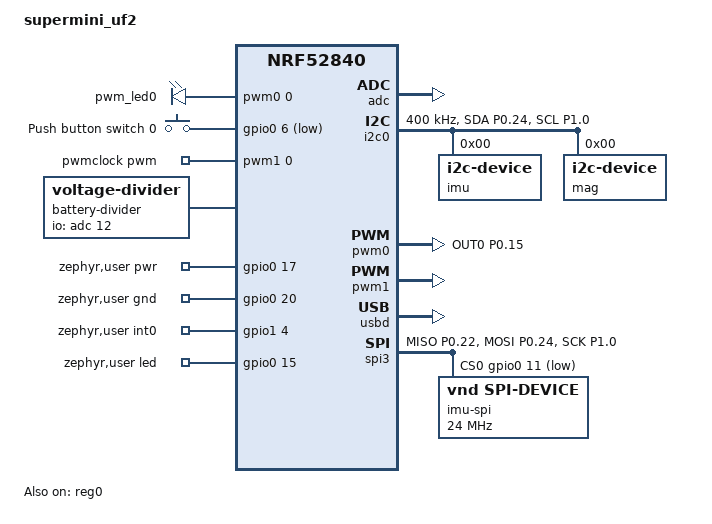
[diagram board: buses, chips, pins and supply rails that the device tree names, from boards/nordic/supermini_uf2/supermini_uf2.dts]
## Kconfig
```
#
# Copyright (c) 2023 Nordic Semiconductor
#
# SPDX-License-Identifier: LicenseRef-Nordic-5-Clause
#

config USE_SLIMENRF_CONSOLE
    bool "Use basic console"
    default y
    help
        Use basic console for commands.

config BATTERY_CHARGER_HAS_NTC
    bool "Battery thermistor"
    help
      Flag for battery NTC thermistor availability.

choice
	prompt "Battery voltage mapping"
    default BATTERY_USE_REG_LDO_MAPPING

config BATTERY_USE_REG_BUCK_MAPPING
    bool "Use buck regulator mapping (3.7V battery, DCDC)"
    help
      Use a constant power mapping for battery voltage.
      Preffered for systems with a buck regulator.
      Measured at a system voltage of 3.0V.

config BATTERY_USE_REG_LDO_MAPPING
    bool "Use LDO linear regulator mapping (3.7V battery, LDO)"
    help
      Use a constant current mapping for battery voltage.
      Preferred for systems with a linear regulator.

config BATTERY_NO_MAPPING
    bool "Disable battery voltage mapping"
    help
      Always map to 100% battery. Disables battery monitoring.

endchoice

config BATTERY_LOW_RUNTIME_THRESHOLD
    int "Low battery runtime threshold (ms)"
    default 10800000
    help
      Trigger low battery when estimated runtime falls below threshold.
      If estimated runtime is not available, low battery will trigger under 10% estimated state of charge.

choice
    prompt "Status LED color mapping"
    default LED_TRI_COLOR

config LED_RGB_COLOR
    bool "Use RGB color mapping"
    help
        Use RGB or RG color mapping for LED status if available.

config LED_TRI_COLOR
    bool "Use default color mapping"
    help
        Use the default color mapping for LED status.

endchoice

menu "Status LED default status color"
    depends on LED_RGB_COLOR

config LED_DEFAULT_COLOR_R
    int "Red value"
    range 0 10000
    default 4000
    depends on LED_RGB_COLOR
    help
        Red color for default status.
        Valid range is 0 to 10000.

config LED_DEFAULT_COLOR_G
    int "Green value"
    range 0 10000
    default 6000
    depends on LED_RGB_COLOR
    help
        Green color for default status.
        Valid range is 0 to 10000.

config LED_DEFAULT_COLOR_B
    int "Blue value"
    range 0 10000
    default 0
    depends on LED_RGB_COLOR
    help
        Blue color for default status.
        Valid range is 0 to 10000.

endmenu

config USER_EXTRA_ACTIONS
    bool "Multiple press actions"
    default y
    help
        Allow user to use multiple presses to calibrate, pair, or enter DFU.
        By default, pairing is available when holding down sw0 for 5 seconds.
        By default, DFU is available when holding down sw0 and plugging in a USB cable.

config IGNORE_RESET
    bool "Ignore reset"
    default y
    help
        If sw0 is available, don't perform any extra actions on reset.

config USER_SHUTDOWN
    bool "User shutdown support"
    default y
    help
        Allow user to use reset or sw0 to shutdown.

config USE_IMU_WAKE_UP
    bool "IMU wake up support"
    default n
    help
        Use IMU wake up state if IMU wake up is present.

config DELAY_SLEEP_ON_STATUS
    bool "Delay IMU wake up mode on status flags"
    default y
    depends on USE_IMU_WAKE_UP
    help
        Delay IMU wake up state if there is an active status flag or in pairing mode.

config WOM_USE_DCDC
    bool "Use DCDC in IMU wake up mode"
    depends on USE_IMU_WAKE_UP
    help
        Use DCDC instead of LDO in IMU wake up state if it is more efficient.

config CONNECTION_TIMEOUT_DELAY
    int "Connection timeout delay (ms)"
    default 300000
    depends on USER_SHUTDOWN
    help
        Connection timeout duration when receiver is not detected.

menu "Sensor power saving"

config SENSOR_LP_TIMEOUT
    int "Sensor low power delay (ms)"
    default 500
    help
        Low power timeout during no motion.

config SENSOR_USE_LOW_POWER_2
    bool "Use additional low power modes"
    help
        Use a higher latency sensor mode during no motion.

config USE_IMU_TIMEOUT
    bool "Use IMU wake up state"
    default y
    depends on USE_IMU_WAKE_UP
    help
        Use IMU wake up state during no motion.

config IMU_TIMEOUT_RAMP_MIN
    int "Sensor timeout minimum delay (ms)"
    default 5000
    depends on USE_IMU_TIMEOUT || SENSOR_USE_LOW_POWER_2
    help
        Minimum timeout during no motion. Initial period on wake up.

config IMU_TIMEOUT_RAMP_MAX
    int "Sensor timeout maximum delay (ms)"
    default 15000
    depends on USE_IMU_TIMEOUT || SENSOR_USE_LOW_POWER_2
    help
        Maximum timeout during no motion.

config USE_ACTIVE_TIMEOUT
    bool "Use activity timeout"
    default y
    depends on USE_IMU_WAKE_UP || USER_SHUTDOWN
    help
        Delay IMU wake up state or user shutdown during activity.

choice
    prompt "Activity timeout mode"
    default SLEEP_ON_ACTIVE_TIMEOUT
    depends on USE_ACTIVE_TIMEOUT

config SLEEP_ON_ACTIVE_TIMEOUT
    bool "IMU wake up"
    depends on USE_IMU_WAKE_UP
    help
        Use IMU wake up state when activity timeout elapses.

config SHUTDOWN_ON_ACTIVE_TIMEOUT
    bool "User shutdown"
    depends on USER_SHUTDOWN
    help
        Use user shutdown when activity timeout elapses.

endchoice

config ACTIVE_TIMEOUT_THRESHOLD
    int "Activity timeout threshold (ms)"
    default 15000
    depends on USE_ACTIVE_TIMEOUT
    help
        Trigger activity timeout after a certain threshold of activity.

config ACTIVE_TIMEOUT_DELAY
    int "Activity timeout delay (ms)"
    default 900000
    depends on USE_ACTIVE_TIMEOUT
    help
        Activity timeout duration when triggered.

endmenu

config SENSOR_ACCEL_ODR
    int "Accelerometer output data rate (Hz)"
    default 100
    help
        Requested accelerometer output data rate. Actual rate will be raised to the nearest supported rate.
        A higher rate will increase the time to read and process sensor data.

config SENSOR_GYRO_ODR
    int "Gyrometer output data rate (Hz)"
    default 200
    help
        Requested gyrometer output data rate. Actual rate will be raised to the nearest supported rate.
        A higher rate will increase the time to read and process sensor data.
        A lower rate is recommended for IMUs with poor gyrometer rate noise density. (e.g. BMI270, LSM6DS3TR-C)

config SENSOR_ACCEL_FS
    int "Accelerometer full scale (g)"
    default 4
    help
        Requested accelerometer full scale. Actual scale will be raised to the nearest supported scale.
        A lower scale may improve noise performance, but is more likely to saturate.

config SENSOR_GYRO_FS
    int "Gyrometer full scale (dps)"
    default 1000
    help
        Requested gyrometer full scale. Actual scale will be raised to the nearest supported scale.
        A lower scale may improve noise performance, but is more likely to saturate.

config SENSOR_USE_MAG
    bool "Magnetometer support"
    default n
    help
        Use magnetometer if it is present.

config USE_SENSOR_CLOCK
    bool "Use external IMU clock"
    default y
    help
        Use external IMU clock if it is present.

choice
    prompt "Sensor fusion"
    default SENSOR_USE_VQF
    help
        Select the sensor fusion method.

config SENSOR_USE_XIOFUSION
    bool "Use x-io Technologies Fusion"
    help
        Use x-io Technologies Fusion for sensor fusion.
        Based on Madgwick filter.

config SENSOR_USE_VQF
    bool "Use VQF"
    help
        Use VQF for sensor fusion.
        Based on Kalman filter.

endchoice

config SENSOR_USE_6_SIDE_CALIBRATION
    bool "Use 6-side calibration"
    default y
    depends on USE_SLIMENRF_CONSOLE
    help
        Use 6-side calibration for accelerometer.
        Calibration can be completed through the basic console.

config RADIO_TX_POWER
    int "Radio output power (dBm)"
    default 8
    help
        Radio output power level.
        A lower value may reduce power consumption.

config CONNECTION_OVER_HID
    bool "Use HID for data output"
    help
        Use HID if available.
        Otherwise, use ESB only.

source "Kconfig.zephyr"
```

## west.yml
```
manifest:
  version: "1.2"
  projects:

    # nRF-Connect SDK
    - name: sdk-nrf
      path: nrf
      url: https://github.com/nrfconnect/sdk-nrf.git
      revision: v3.1.1
      import: true
```

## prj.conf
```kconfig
#CONFIG_NCS_SAMPLES_DEFAULTS
CONFIG_ASSERT=y
CONFIG_ASSERT_NO_COND_INFO=y
CONFIG_ASSERT_NO_MSG_INFO=y
CONFIG_RESET_ON_FATAL_ERROR=y

CONFIG_NCS_APPLICATION_BOOT_BANNER_STRING="SlimeVR-Tracker-nRF"
#CONFIG_NCS_BOOT_BANNER=n
CONFIG_BOOT_BANNER=n

CONFIG_ESB=y
#need to enable for nRF54L
#CONFIG_NRFX_DPPI10=y

CONFIG_ADC=y
CONFIG_ADC_NRFX_SAADC=y
CONFIG_FPU=y
CONFIG_I2C=y
CONFIG_SPI=y
CONFIG_PINCTRL=y

CONFIG_NVS=y
CONFIG_NVS_LOOKUP_CACHE=y
CONFIG_NVS_INIT_BAD_MEMORY_REGION=y

CONFIG_POWEROFF=y
CONFIG_REBOOT=y

CONFIG_FLASH=y
CONFIG_FLASH_PAGE_LAYOUT=y
CONFIG_FLASH_MAP=y

CONFIG_SETTINGS=y
CONFIG_SETTINGS_RUNTIME=y
CONFIG_SETTINGS_NONE=y

CONFIG_MPU_ALLOW_FLASH_WRITE=y

CONFIG_RETAINED_MEM=y

CONFIG_USE_SEGGER_RTT=y
CONFIG_LOG=y
#CONFIG_PRINTK=y
CONFIG_LOG_MODE_DEFERRED=y
CONFIG_LOG_SPEED=y
CONFIG_LOG_BACKEND_RTT=y
CONFIG_CBPRINTF_FP_SUPPORT=y
CONFIG_ADC_LOG_LEVEL_OFF=y
CONFIG_LOG_FUNC_NAME_PREFIX_ERR=y
CONFIG_LOG_BUFFER_SIZE=1536
CONFIG_LOG_BACKEND_UART_AUTOSTART=n
CONFIG_LOG_PROCESS_THREAD_SLEEP_MS=50
CONFIG_LOG_PROCESS_THREAD_STACK_SIZE=1024

CONFIG_PWM=y
CONFIG_GPIO=y

CONFIG_CRC=y

CONFIG_NEWLIB_LIBC=y
#deprecated?
#CONFIG_NRFX_TIMER1=y

#speed up boot? (use internal rc oscillator)
CONFIG_CLOCK_CONTROL_NRF_K32SRC_RC=y
CONFIG_CLOCK_CONTROL_NRF_K32SRC_RC_CALIBRATION=n
#speed up boot? (synthesize lf clock)
#CONFIG_CLOCK_CONTROL_NRF_K32SRC_SYNTH=y

# dont need it
CONFIG_CRYPTO=n

# set timeout for 25ms, sufficient for ~1000 bytes
CONFIG_I2C_NRFX_TRANSFER_TIMEOUT=25

CONFIG_USB_DEVICE_HID=y
CONFIG_USB_DEVICE_VID=0x1209
CONFIG_USB_DEVICE_PID=0x7692
CONFIG_USB_HID_BOOT_PROTOCOL=y
CONFIG_USB_DEVICE_INITIALIZE_AT_BOOT=n
CONFIG_USB_CDC_ACM=y
CONFIG_UART_INTERRUPT_DRIVEN=y
CONFIG_USB_WORKQUEUE_STACK_SIZE=512

CONFIG_SERIAL=y
CONFIG_CONSOLE=y
CONFIG_RTT_CONSOLE=y
CONFIG_UART_CONSOLE=y
CONFIG_UART_LINE_CTRL=y
# fit "write all <base64:173>"
CONFIG_CONSOLE_INPUT_MAX_LINE_LEN=256

CONFIG_LOG=y
CONFIG_USB_DRIVER_LOG_LEVEL_ERR=y
CONFIG_USB_DEVICE_LOG_LEVEL_ERR=y
CONFIG_USB_CDC_ACM_LOG_LEVEL_OFF=y

CONFIG_LOG_BACKEND_UART=y

CONFIG_CONSOLE_SUBSYS=y
CONFIG_CONSOLE_GETLINE=y

CONFIG_NVS_LOG_LEVEL_WRN=y
CONFIG_USB_HID_LOG_LEVEL_WRN=y

CONFIG_USB_DEVICE_SOF=y
CONFIG_USB_HID_REPORTS=256

#CONFIG_USB_HID_POLL_INTERVAL_MS=1
CONFIG_USB_HID_POLL_INTERVAL_MS=0
CONFIG_HID_INTERRUPT_EP_MPS=64
#CONFIG_ENABLE_HID_INT_OUT_EP=y

CONFIG_SYSTEM_WORKQUEUE_STACK_SIZE=256
CONFIG_MAIN_STACK_SIZE=512
#crashing on nrf54l at 512

CONFIG_THREAD_NAME=y

# TODO: because of icm426, this will break things and needs to be raised to at least 3k
CONFIG_HEAP_MEM_POOL_SIZE=2048
CONFIG_ISR_STACK_SIZE=1024

CONFIG_PM_DEVICE=y

CONFIG_BASE64=y

#CONFIG_THREAD_ANALYZER=y
#CONFIG_THREAD_ANALYZER_AUTO=y
#CONFIG_THREAD_ANALYZER_AUTO_INTERVAL=5
```

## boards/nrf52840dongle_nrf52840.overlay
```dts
&red_pwm_led {
	pwms = <&pwm0 0 PWM_MSEC(1) PWM_POLARITY_INVERTED>;
};
&green_pwm_led {
	pwms = <&pwm0 1 PWM_MSEC(1) PWM_POLARITY_INVERTED>;
};
&blue_pwm_led {
	pwms = <&pwm0 2 PWM_MSEC(1) PWM_POLARITY_INVERTED>;
};

/ {
	battery-divider {
		compatible = "voltage-divider";
		status = "okay";
		io-channels = <&adc 12>; // Measure VDDHDIV5
		output-ohms = <1>;
		full-ohms = <2>;
	};
};

&i2c0 {
	compatible = "nordic,nrf-twim";
	zephyr,concat-buf-size = <255>; // probable max for nrf52832
	zephyr,flash-buf-max-size = <255>; // probable max for nrf52832
	clock-frequency = <I2C_BITRATE_FAST>;

	imu: imu@0 { // any address out of range (00, 7f, etc. will search all addresses and stored address first if available, specify an address here to search first otherwise
		compatible = "i2c-device";
		label = "imu";
		reg = <0>;
	};

	mag: mag@0 {
		compatible = "i2c-device";
		label = "mag";
		reg = <0>;
	};

};

arduino_spi: &spi3 {
	imu_spi: imu_spi@0 {
		compatible = "vnd,spi-device";
		spi-max-frequency = <DT_FREQ_M(32)>;
		label = "imu-spi";
		reg = <0>;
	};
};
```

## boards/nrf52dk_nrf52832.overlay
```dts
&pwm0_default {
	group1 {
		psels = <NRF_PSEL(PWM_OUT0, 0, 13)>,
			<NRF_PSEL(PWM_OUT1, 0, 14)>,
			<NRF_PSEL(PWM_OUT2, 0, 15)>;
		nordic,drive-mode = <NRF_DRIVE_D0S1>;
		nordic,invert;
	};
};

&pwm0_sleep {
	group1 {
		psels = <NRF_PSEL(PWM_OUT0, 0, 13)>,
			<NRF_PSEL(PWM_OUT1, 0, 14)>,
			<NRF_PSEL(PWM_OUT2, 0, 15)>;
	};
};

/ {
	pwmleds {
		pwm_led1: pwm_led_1 {
			pwms = <&pwm0 1 PWM_MSEC(20) PWM_POLARITY_INVERTED>;
		};
		pwm_led2: pwm_led_2 {
			pwms = <&pwm0 2 PWM_MSEC(20) PWM_POLARITY_INVERTED>;
		};
	};

	battery-divider {
		compatible = "voltage-divider";
		status = "okay";
		io-channels = <&adc 12>; // Measure VDDHDIV5
		output-ohms = <1>;
		full-ohms = <2>;
	};

	aliases {
		pwm-led1 = &pwm_led1;
		pwm-led2 = &pwm_led2;
	};
};

&i2c0 {
	compatible = "nordic,nrf-twim";
	zephyr,concat-buf-size = <255>; // probable max for nrf52832
	zephyr,flash-buf-max-size = <255>; // probable max for nrf52832
	clock-frequency = <I2C_BITRATE_FAST>;

	imu: imu@0 { // any address out of range (00, 7f, etc. will search all addresses and stored address first if available, specify an address here to search first otherwise
		compatible = "i2c-device";
		label = "imu";
		reg = <0>;
	};

	mag: mag@0 {
		compatible = "i2c-device";
		label = "mag";
		reg = <0>;
	};

};

arduino_spi: &spi2 {
	imu_spi: imu_spi@0 {
		compatible = "vnd,spi-device";
		spi-max-frequency = <DT_FREQ_M(8)>;
		label = "imu-spi";
		reg = <0>;
	};
};
```

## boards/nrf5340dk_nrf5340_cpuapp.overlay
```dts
&pwm0_default {
	group1 {
		psels = <NRF_PSEL(PWM_OUT0, 0, 13)>,
			<NRF_PSEL(PWM_OUT1, 0, 14)>,
			<NRF_PSEL(PWM_OUT2, 0, 15)>;
		nordic,drive-mode = <NRF_DRIVE_D0S1>;
		nordic,invert;
	};
};

&pwm0_sleep {
	group1 {
		psels = <NRF_PSEL(PWM_OUT0, 0, 13)>,
			<NRF_PSEL(PWM_OUT1, 0, 14)>,
			<NRF_PSEL(PWM_OUT2, 0, 15)>;
	};
};

/ {
	chosen {
		zephyr,console = &cdc_acm_uart0;
		zephyr,shell-uart = &cdc_acm_uart0;
	};

	pwmleds {
		pwm_led1: pwm_led_1 {
			pwms = <&pwm0 1 PWM_MSEC(20) PWM_POLARITY_INVERTED>;
		};
		pwm_led2: pwm_led_2 {
			pwms = <&pwm0 2 PWM_MSEC(20) PWM_POLARITY_INVERTED>;
		};
	};

	battery-divider {
		compatible = "voltage-divider";
		status = "okay";
		io-channels = <&adc 12>; // Measure VDDHDIV5
		output-ohms = <1>;
		full-ohms = <2>;
	};

	aliases {
		pwm-led1 = &pwm_led1;
		pwm-led2 = &pwm_led2;
	};
};

&i2c0 {
	compatible = "nordic,nrf-twim";
	zephyr,concat-buf-size = <255>; // probable max for nrf52832
	zephyr,flash-buf-max-size = <255>; // probable max for nrf52832
	clock-frequency = <I2C_BITRATE_FAST>;

	imu: imu@0 { // any address out of range (00, 7f, etc. will search all addresses and stored address first if available, specify an address here to search first otherwise
		compatible = "i2c-device";
		label = "imu";
		reg = <0>;
	};

	mag: mag@0 {
		compatible = "i2c-device";
		label = "mag";
		reg = <0>;
	};

};

arduino_spi: &spi3 {
	imu_spi: imu_spi@0 {
		compatible = "vnd,spi-device";
		spi-max-frequency = <DT_FREQ_M(32)>;
		label = "imu-spi";
		reg = <0>;
	};
};

zephyr_udc0: &usbd {
	cdc_acm_uart0: cdc_acm_uart0 {
		compatible = "zephyr,cdc-acm-uart";
	};
};
```

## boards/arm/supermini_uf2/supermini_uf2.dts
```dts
// Copyright (c) 2024 Nordic Semiconductor ASA
// SPDX-License-Identifier: Apache-2.0

/dts-v1/;
#include <nordic/nrf52840_qiaa.dtsi>

//move to dtsi?
&pinctrl {
	i2c0_default: i2c0_default {
		group1 {
			psels = <NRF_PSEL(TWIM_SDA, 0, 24)>, <NRF_PSEL(TWIM_SCL, 0, 22)>;
			bias-disable;
		};
	};

	i2c0_sleep: i2c0_sleep {
		group1 {
			psels = <NRF_PSEL(TWIM_SDA, 0, 24)>, <NRF_PSEL(TWIM_SCL, 0, 22)>;
			bias-disable;
			low-power-enable;
		};
	};

	pwm0_default: pwm0_default {
		group1 {
			psels = <NRF_PSEL(PWM_OUT0, 0, 15)>;
		};
	};

	pwm0_sleep: pwm0_sleep {
		group1 {
			psels = <NRF_PSEL(PWM_OUT0, 0, 15)>;
			low-power-enable;
		};
	};

	pwm1_default: pwm1_default {
		group1 {
			psels = <NRF_PIN_DISCONNECTED>;
		};
	};

	pwm1_sleep: pwm1_sleep {
		group1 {
			psels = <NRF_PIN_DISCONNECTED>;
			low-power-enable;
		};
	};
};
//end

/ {
	model = "supermini_uf2";
	compatible = "supermini_uf2";

	chosen {
		zephyr,sram = &sram0;
		zephyr,flash = &flash0;
		zephyr,code-partition = &slot0_partition;
		zephyr,console = &cdc_acm_uart0;
		zephyr,shell-uart = &cdc_acm_uart0;
	};

	pwmleds {
		compatible = "pwm-leds";
		pwm_led0: pwm_led_0 {
			pwms = <&pwm0 0 PWM_MSEC(1) PWM_POLARITY_NORMAL>;
		};
	};

	// Uncomment below to Enable SW0
	 buttons {
	 	compatible = "gpio-keys";
	 	button0: button_0 {
	 		gpios = <&gpio0 6 (GPIO_PULL_UP | GPIO_ACTIVE_LOW)>;
	 		label = "Push button switch 0";
	 	};
	 };

	 aliases {
	 	sw0 = &button0;
	 };

	pwmclock: pwmclock {
		compatible = "pwm-clock";
		#clock-cells = <1>;
		pwms = <&pwm1 0 PWM_HZ(32768) PWM_POLARITY_NORMAL>;
	};

	battery-divider {
		compatible = "voltage-divider";
		status = "okay";
		io-channels = <&adc 12>; // Measure VDDHDIV5
		output-ohms = <1>;
		full-ohms = <5>;
	};

	zephyr,user {
		pwr-gpios = <&gpio0 17 GPIO_OPEN_SOURCE>;
		gnd-gpios = <&gpio0 20 GPIO_OPEN_DRAIN>;
		int0-gpios = <&gpio0 2 (GPIO_ACTIVE_LOW | GPIO_PULL_UP)>;
		led-gpios = <&gpio0 15 GPIO_OPEN_SOURCE>;
		clk-gpios = <&gpio0 29 GPIO_OPEN_DRAIN>; // Uncomment and set to correct pin if using an external clock (crystal oscillator)
	};

};

&flash0 {
	partitions {
		compatible = "fixed-partitions";
		#address-cells = <1>;
		#size-cells = <1>;

		boot_partition: partition@0 {
			label = "mcuboot";
			reg = <0x0 0xc000>;
		};
		slot0_partition: partition@c000 {
			label = "image-0";
			reg = <0xc000 0x72000>;
		};
		slot1_partition: partition@7e000 {
			label = "image-1";
			reg = <0x7e000 0x72000>;
		};
		scratch_partition: partition@f0000 {
			label = "image-scratch";
			reg = <0xf0000 0xa000>;
		};
		storage_partition: partition@fa000 {
			label = "storage";
			reg = <0xfa000 0x6000>;
		};
	};
};

&adc {
	status = "okay";
};

&gpiote {
	status = "okay";
};

&gpio0 {
	status = "okay";
};

&gpio1 {
	status = "okay";
};

&i2c0 {
	compatible = "nordic,nrf-twim";
	status = "okay";
	zephyr,concat-buf-size = <255>; // probable max for nrf52832
	zephyr,flash-buf-max-size = <255>; // probable max for nrf52832
	clock-frequency = <I2C_BITRATE_FAST>;
	pinctrl-0 = <&i2c0_default>;
	pinctrl-1 = <&i2c0_sleep>;
	pinctrl-names = "default", "sleep";

	imu: imu@0 { // any address out of range (00, 7f, etc. will search all addresses and stored address first if available, specify an address here to search first otherwise
		compatible = "i2c-device";
		label = "imu";
		reg = <0>;
	};

	mag: mag@0 {
		compatible = "i2c-device";
		label = "mag";
		reg = <0>;
	};

};

&pwm0 {
	status = "okay";
	pinctrl-0 = <&pwm0_default>;
	pinctrl-1 = <&pwm0_sleep>;
	pinctrl-names = "default", "sleep";
};

&pwm1 {
	status = "okay";
	pinctrl-0 = <&pwm1_default>;
	pinctrl-1 = <&pwm1_sleep>;
	pinctrl-names = "default", "sleep";
};

zephyr_udc0: &usbd {
	compatible = "nordic,nrf-usbd";
	status = "okay";
	cdc_acm_uart0: cdc_acm_uart0 {
		compatible = "zephyr,cdc-acm-uart";
	};
};

&cryptocell {
	status = "disabled";
};

&nfct {
	status = "disabled";
};
```

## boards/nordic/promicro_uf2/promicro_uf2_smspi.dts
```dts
// Copyright (c) 2024 Nordic Semiconductor ASA
// SPDX-License-Identifier: Apache-2.0

/dts-v1/;
#include "promicro_uf2.dts"

&i2c0_default {
	group1 {
		psels = <NRF_PSEL(TWIM_SDA, 0, 24)>, <NRF_PSEL(TWIM_SCL, 0, 22)>;
		bias-disable;
	};
};

&i2c0_sleep {
	group1 {
		psels = <NRF_PSEL(TWIM_SDA, 0, 24)>, <NRF_PSEL(TWIM_SCL, 0, 22)>;
		bias-disable;
		low-power-enable;
	};
};

&spi3_default {
	group1 {
		psels = <NRF_PSEL(SPIM_MISO, 0, 11)>,
					<NRF_PSEL(SPIM_MOSI, 0, 24)>,
					<NRF_PSEL(SPIM_SCK, 0, 22)>;
	};
};

&spi3_sleep {
	group1 {
		psels = <NRF_PSEL(SPIM_MISO, 0, 11)>,
					<NRF_PSEL(SPIM_MOSI, 0, 24)>,
					<NRF_PSEL(SPIM_SCK, 0, 22)>;
		low-power-enable;
	};
};

/ {
	zephyr,user {
		int0-gpios = <&gpio1 0 0>;
		/delete-property/ clk-gpios;
	};
};

&spi3 {
	cs-gpios = <&gpio0 24 GPIO_ACTIVE_LOW>;
};
```

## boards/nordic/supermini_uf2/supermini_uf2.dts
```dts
// Copyright (c) 2024 Nordic Semiconductor ASA
// SPDX-License-Identifier: Apache-2.0

/dts-v1/;
#include <nordic/nrf52840_qiaa.dtsi>

//move to dtsi?
&pinctrl {
	i2c0_default: i2c0_default {
		group1 {
			psels = <NRF_PSEL(TWIM_SDA, 0, 24)>, <NRF_PSEL(TWIM_SCL, 1, 0)>;
			bias-disable;
		};
	};

	i2c0_sleep: i2c0_sleep {
		group1 {
			psels = <NRF_PSEL(TWIM_SDA, 0, 24)>, <NRF_PSEL(TWIM_SCL, 1, 0)>;
			bias-disable;
			low-power-enable;
		};
	};

	pwm0_default: pwm0_default {
		group1 {
			psels = <NRF_PSEL(PWM_OUT0, 0, 15)>;
			nordic,drive-mode = <NRF_DRIVE_D0S1>;
		};
	};

	pwm0_sleep: pwm0_sleep {
		group1 {
			psels = <NRF_PSEL(PWM_OUT0, 0, 15)>;
			low-power-enable;
		};
	};

	pwm1_default: pwm1_default {
		group1 {
			psels = <NRF_PIN_DISCONNECTED>;
		};
	};

	pwm1_sleep: pwm1_sleep {
		group1 {
			psels = <NRF_PIN_DISCONNECTED>;
			low-power-enable;
		};
	};

	spi3_default: spi3_default {
		group1 {
			psels = <NRF_PSEL(SPIM_MISO, 0, 22)>,
					<NRF_PSEL(SPIM_MOSI, 0, 24)>,
					<NRF_PSEL(SPIM_SCK, 1, 0)>;
		};
	};

	spi3_sleep: spi3_sleep {
		group1 {
			psels = <NRF_PSEL(SPIM_MISO, 0, 22)>,
					<NRF_PSEL(SPIM_MOSI, 0, 24)>,
					<NRF_PSEL(SPIM_SCK, 1, 0)>;
			low-power-enable;
		};
	};
};
//end

/ {
	model = "supermini_uf2";
	compatible = "supermini_uf2";

	chosen {
		zephyr,sram = &sram0;
		zephyr,flash = &flash0;
		zephyr,console = &cdc_acm_uart0;
		zephyr,shell-uart = &cdc_acm_uart0;
	};

	pwmleds {
		compatible = "pwm-leds";
		pwm_led0: pwm_led_0 {
			pwms = <&pwm0 0 PWM_MSEC(1) PWM_POLARITY_NORMAL>;
		};
	};

	buttons {
		compatible = "gpio-keys";
		button0: button_0 {
			gpios = <&gpio0 6 (GPIO_PULL_UP | GPIO_ACTIVE_LOW)>;
			label = "Push button switch 0";
		};
	};

	aliases {
		sw0 = &button0; // Uncomment to Enable SW0
		pwm-led0 = &pwm_led0;
	};

	pwmclock: pwmclock {
		compatible = "pwm-clock";
		#clock-cells = <1>;
		pwms = <&pwm1 0 PWM_HZ(32768) PWM_POLARITY_NORMAL>;
	};

	battery-divider {
		compatible = "voltage-divider";
		status = "okay";
		io-channels = <&adc 12>; // Measure VDDHDIV5
		output-ohms = <1>;
		full-ohms = <5>;
	};

	zephyr,user {
		pwr-gpios = <&gpio0 17 GPIO_OPEN_SOURCE>;
        gnd-gpios = <&gpio0 20 GPIO_OPEN_DRAIN>;
		int0-gpios = <&gpio1 4 0>;
		led-gpios = <&gpio0 15 GPIO_OPEN_SOURCE>;
		// clk-gpios = <&gpio1 11 GPIO_OPEN_DRAIN>; // Uncomment and set to correct pin if using an external clock (crystal oscillator)
	};

};

&reg0 {
	status = "okay";
};

&reg1 {
	regulator-initial-mode = <NRF5X_REG_MODE_DCDC>;
};

&adc {
	status = "okay";
};

&gpiote {
	status = "okay";
};

&gpio0 {
	status = "okay";
};

&gpio1 {
	status = "okay";
};

&i2c0 {
	compatible = "nordic,nrf-twim";
	status = "okay";
	zephyr,concat-buf-size = <1023>;
	zephyr,flash-buf-max-size = <1023>;
	clock-frequency = <I2C_BITRATE_FAST>;
	pinctrl-0 = <&i2c0_default>;
	pinctrl-1 = <&i2c0_sleep>;
	pinctrl-names = "default", "sleep";

	imu: imu@0 { // any address out of range (00, 7f, etc. will search all addresses and stored address first if available, specify an address here to search first otherwise
		compatible = "i2c-device";
		label = "imu";
		reg = <0>;
	};

	mag: mag@0 {
		compatible = "i2c-device";
		label = "mag";
		reg = <0>;
	};

};

&pwm0 {
	status = "okay";
	pinctrl-0 = <&pwm0_default>;
	pinctrl-1 = <&pwm0_sleep>;
	pinctrl-names = "default", "sleep";
};

&pwm1 {
	status = "okay";
	pinctrl-0 = <&pwm1_default>;
	pinctrl-1 = <&pwm1_sleep>;
	pinctrl-names = "default", "sleep";
};

zephyr_udc0: &usbd {
	compatible = "nordic,nrf-usbd";
	status = "okay";
	cdc_acm_uart0: cdc_acm_uart0 {
		compatible = "zephyr,cdc-acm-uart";
	};
};

&cryptocell {
	status = "disabled";
};

&nfct {
	status = "disabled";
};

&spi3 {
	compatible = "nordic,nrf-spim";
	status = "okay";
	max-frequency = <DT_FREQ_M(24)>;
	pinctrl-0 = <&spi3_default>;
	pinctrl-1 = <&spi3_sleep>;
	pinctrl-names = "default", "sleep";
	cs-gpios = <&gpio0 11 GPIO_ACTIVE_LOW>;

	imu_spi: imu_spi@0 {
		compatible = "vnd,spi-device";
		spi-max-frequency = <DT_FREQ_M(24)>;
		label = "imu-spi";
		reg = <0>;
	};
};
```

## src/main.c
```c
/*
	SlimeVR Code is placed under the MIT license
	Copyright (c) 2025 SlimeVR Contributors

	Permission is hereby granted, free of charge, to any person obtaining a copy
	of this software and associated documentation files (the "Software"), to deal
	in the Software without restriction, including without limitation the rights
	to use, copy, modify, merge, publish, distribute, sublicense, and/or sell
	copies of the Software, and to permit persons to whom the Software is
	furnished to do so, subject to the following conditions:

	The above copyright notice and this permission notice shall be included in
	all copies or substantial portions of the Software.

	THE SOFTWARE IS PROVIDED "AS IS", WITHOUT WARRANTY OF ANY KIND, EXPRESS OR
	IMPLIED, INCLUDING BUT NOT LIMITED TO THE WARRANTIES OF MERCHANTABILITY,
	FITNESS FOR A PARTICULAR PURPOSE AND NONINFRINGEMENT. IN NO EVENT SHALL THE
	AUTHORS OR COPYRIGHT HOLDERS BE LIABLE FOR ANY CLAIM, DAMAGES OR OTHER
	LIABILITY, WHETHER IN AN ACTION OF CONTRACT, TORT OR OTHERWISE, ARISING FROM,
	OUT OF OR IN CONNECTION WITH THE SOFTWARE OR THE USE OR OTHER DEALINGS IN
	THE SOFTWARE.
*/
#include "globals.h"
#include "system/system.h"
//#include "timer.h"
#include "connection/esb.h"
#include "sensor/sensor.h"

#include <zephyr/sys/reboot.h>

#define DFU_DBL_RESET_MEM 0x20007F7C
#define DFU_DBL_RESET_APP 0x4ee5677e

static uint32_t *dbl_reset_mem __attribute__((unused)) = ((uint32_t *)DFU_DBL_RESET_MEM); // retained

LOG_MODULE_REGISTER(main, LOG_LEVEL_INF);

#if DT_NODE_HAS_PROP(DT_ALIAS(sw0), gpios)
#define BUTTON_EXISTS true
#endif
#include <zephyr/drivers/gpio.h>
#define ZEPHYR_USER_NODE DT_PATH(zephyr_user)
#if DT_NODE_HAS_PROP(ZEPHYR_USER_NODE, pwr_gpios)
static const struct gpio_dt_spec pwr = GPIO_DT_SPEC_GET(ZEPHYR_USER_NODE, pwr_gpios);
static const struct gpio_dt_spec gnd = GPIO_DT_SPEC_GET(ZEPHYR_USER_NODE, gnd_gpios);
#else
#warning "IMU power pins not defined: do not stack IMU on SUPERMINI"
#endif
#define DFU_EXISTS CONFIG_BUILD_OUTPUT_UF2 || CONFIG_BOARD_HAS_NRF5_BOOTLOADER
#define ADAFRUIT_BOOTLOADER CONFIG_BUILD_OUTPUT_UF2

int main(void)
{
#if DT_NODE_HAS_PROP(ZEPHYR_USER_NODE, pwr_gpios)
    gpio_pin_configure_dt(&gnd, GPIO_OUTPUT_ACTIVE);
    gpio_pin_set_dt(&gnd, 0);
    gpio_pin_configure_dt(&pwr, GPIO_OUTPUT_ACTIVE);
    gpio_pin_set_dt(&pwr, 1);
#endif 
#ifdef NRF_RESET
	bool reset_pin_reset = NRF_RESET->RESETREAS & RESET_RESETREAS_RESETPIN_Msk;
	NRF_RESET->RESETREAS = NRF_RESET->RESETREAS; // Clear RESETREAS
#else
	bool reset_pin_reset = NRF_POWER->RESETREAS & POWER_RESETREAS_RESETPIN_Msk;
	NRF_POWER->RESETREAS = NRF_POWER->RESETREAS; // Clear RESETREAS
#endif

#if BUTTON_EXISTS
	if (CONFIG_0_SETTINGS_READ(CONFIG_0_IGNORE_RESET))
		reset_pin_reset = false;
#endif

	set_led(SYS_LED_PATTERN_ONESHOT_WAKE, SYS_LED_PRIORITY_BOOT); // Boot LED

	uint8_t reboot_counter = reboot_counter_read();
	bool booting_from_shutdown = !reboot_counter && (reset_pin_reset || button_read()); // 0 means from user shutdown or failed ram validation

	/* if button is not held after booting from shutdown, power off again
	 * if button press is normal, continue boot
	 * if button is held for 1 second, reset pairing and continue boot
	 * if button is held but tracker was waking (not booting from shutdown) ignore the press // TODO: should it pass on to regular handler (e.g. intent to shutdown)
	 */

	if (booting_from_shutdown)
	{
		set_led(SYS_LED_PATTERN_ONESHOT_POWERON, SYS_LED_PRIORITY_BOOT);
		if (button_read())
		{
			set_status(SYS_STATUS_BUTTON_PRESSED, true); // prevent going to sleep while still holding
			int64_t start_time = k_uptime_get();
			while (button_read())
			{
				if (k_uptime_get() - start_time > 1000)
				{
					LOG_INF("Pairing requested");
					esb_reset_pair();
					break;
				}
				k_msleep(1);
			}
			if (CONFIG_0_SETTINGS_READ(CONFIG_0_USER_SHUTDOWN) && k_uptime_get() - start_time < 50) // debounce // TODO: does sense pin stay configured?
				sys_request_system_silent_off(false);
			set_status(SYS_STATUS_BUTTON_PRESSED, false);
		}
	}

	bool docked = dock_read();

	uint8_t reset_mode = -1;

	if (reboot_counter == 0)
		reboot_counter = 100;
	else if (reboot_counter > 200)
		reboot_counter = 200; // How did you get here
	reset_mode = reboot_counter - 100;
	if (reset_pin_reset && !docked) // Count pin resets while not docked
	{
		reboot_counter++;
		reboot_counter_write(reboot_counter);
		LOG_INF("Reset count: %u", reboot_counter);
#if ADAFRUIT_BOOTLOADER
#if BUTTON_EXISTS
		if (!CONFIG_0_SETTINGS_READ(CONFIG_0_IGNORE_RESET))
			(*dbl_reset_mem) = DFU_DBL_RESET_APP; // Using Adafruit bootloader, skip DFU if reset button could be used
#else
		(*dbl_reset_mem) = DFU_DBL_RESET_APP; // Using Adafruit bootloader, skip DFU since reset button is used
#endif
#endif
		k_msleep(1000); // Wait before clearing counter and continuing
	}
	reboot_counter_write(100);
	if (!reset_pin_reset && reset_mode == 0) // Only need to check once, if the button is pressed again an interrupt is triggered from before
		reset_mode = -1; // Cancel reset_mode (shutdown)

	if (CONFIG_0_SETTINGS_READ(CONFIG_0_USER_SHUTDOWN))
	{
		bool charging = chg_read();
		bool charged = stby_read();
		bool plugged = vin_read();

		if (reset_mode == 0 && !booting_from_shutdown && !charging && !charged && !plugged) // Reset mode user shutdown, only if unplugged and undocked
			sys_user_shutdown();
	}

	sys_reset_mode(reset_mode);

	return 0;
}
```

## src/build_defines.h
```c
/*
	SlimeVR Code is placed under the MIT license
	Copyright (c) 2025 SlimeVR Contributors

	Permission is hereby granted, free of charge, to any person obtaining a copy
	of this software and associated documentation files (the "Software"), to deal
	in the Software without restriction, including without limitation the rights
	to use, copy, modify, merge, publish, distribute, sublicense, and/or sell
	copies of the Software, and to permit persons to whom the Software is
	furnished to do so, subject to the following conditions:

	The above copyright notice and this permission notice shall be included in
	all copies or substantial portions of the Software.

	THE SOFTWARE IS PROVIDED "AS IS", WITHOUT WARRANTY OF ANY KIND, EXPRESS OR
	IMPLIED, INCLUDING BUT NOT LIMITED TO THE WARRANTIES OF MERCHANTABILITY,
	FITNESS FOR A PARTICULAR PURPOSE AND NONINFRINGEMENT. IN NO EVENT SHALL THE
	AUTHORS OR COPYRIGHT HOLDERS BE LIABLE FOR ANY CLAIM, DAMAGES OR OTHER
	LIABILITY, WHETHER IN AN ACTION OF CONTRACT, TORT OR OTHERWISE, ARISING FROM,
	OUT OF OR IN CONNECTION WITH THE SOFTWARE OR THE USE OR OTHER DEALINGS IN
	THE SOFTWARE.
*/
#include "sensor/sensors_enum.h"
#include "system/status.h"

#include "app_version.h"

#ifdef CONFIG_NCS_APPLICATION_BOOT_BANNER_STRING
#define FW_NAME CONFIG_NCS_APPLICATION_BOOT_BANNER_STRING
#else
#define FW_NAME "SlimeNRF Tracker"
#endif
#define FW_VERSION_MAJOR APP_VERSION_MAJOR
#define FW_VERSION_MINOR APP_VERSION_MINOR
#define FW_VERSION_PATCH APP_PATCHLEVEL

static uint8_t get_server_constant_imu_id(int id) __attribute__((unused));
static uint8_t get_server_constant_mag_id(int id) __attribute__((unused));
static uint8_t get_server_constant_tracker_status(int status) __attribute__((unused));

// constants from server, should include BoardType, MCUType, IMUType, MagType (not yet)
// https://github.com/SlimeVR/SlimeVR-Server/blob/main/server/core/src/main/java/dev/slimevr/tracking/trackers/udp/FirmwareConstants.kt
#define SVR_IMU_UNKNOWN 0
#define SVR_IMU_MPU9250 1
#define SVR_IMU_MPU6500 2
#define SVR_IMU_BNO080 3
#define SVR_IMU_BNO085 4
#define SVR_IMU_BNO055 5
#define SVR_IMU_MPU6050 6
#define SVR_IMU_BNO086 7
#define SVR_IMU_BMI160 8
#define SVR_IMU_ICM20948 9
#define SVR_IMU_ICM42688 10
#define SVR_IMU_BMI270 11
#define SVR_IMU_LSM6DS3TRC 12
#define SVR_IMU_LSM6DSV 13
#define SVR_IMU_LSM6DSO 14
#define SVR_IMU_LSM6DSR 15
#define SVR_IMU_ICM45686 16
#define SVR_IMU_ICM45605 17
#define SVR_IMU_ADC_RESISTANCE 18
#define SVR_IMU_DEV_RESERVED 250

#define SVR_BOARD_UNKNOWN 0
#define SVR_BOARD_SLIMEVR_LEGACY 1
#define SVR_BOARD_SLIMEVR_DEV 2
#define SVR_BOARD_NODEMCU 3
#define SVR_BOARD_CUSTOM 4
#define SVR_BOARD_WROOM32 5
#define SVR_BOARD_WEMOSD1MINI 6
#define SVR_BOARD_TTGO_TBASE 7
#define SVR_BOARD_ESP01 8
#define SVR_BOARD_SLIMEVR 9
#define SVR_BOARD_LOLIN_C3_MINI 10
#define SVR_BOARD_BEETLE32C32 11
#define SVR_BOARD_ES32C3DEVKITM1 12
#define SVR_BOARD_OWOTRACK 13
#define SVR_BOARD_WRANGLER 14
#define SVR_BOARD_MOCOPI 15
#define SVR_BOARD_WEMOSWROOM02 16
#define SVR_BOARD_XIAO_ESP32C3 17
#define SVR_BOARD_HARITORA 18
#define SVR_BOARD_ESP32C6DEVKITC1 19
#define SVR_BOARD_GLOVE_IMU_SLIMEVR_DEV 20
#define SVR_BOARD_DEV_RESERVED 250

#define SVR_MCU_UNKNOWN 0
#define SVR_MCU_ESP8266 1
#define SVR_MCU_ESP32 2
#define SVR_MCU_OWOTRACK_ANDROID 3
#define SVR_MCU_WRANGLER 4
#define SVR_MCU_OWOTRACK_IOS 5
#define SVR_MCU_ESP32_C3 6
#define SVR_MCU_MOCOPI 7
#define SVR_MCU_HARITORA 8
#define SVR_MCU_DEV_RESERVED 250

#define SVR_MAG_STATUS_NOT_SUPPORTED 0
#define SVR_MAG_STATUS_DISABLED 1
#define SVR_MAG_STATUS_ENABLED 2

// https://github.com/SlimeVR/SlimeVR-Server/blob/main/server/core/src/main/java/dev/slimevr/tracking/trackers/TrackerStatus.kt
#define SVR_STATUS_DISCONNECTED 0
#define SVR_STATUS_OK 1
#define SVR_STATUS_BUSY 2
#define SVR_STATUS_ERROR 3
#define SVR_STATUS_OCCLUDED 4
#define SVR_STATUS_TIMED_OUT 5

// does not exist in server enums yet
#if CONFIG_BOARD_NRF52DK
#define FW_BOARD 0
#elif CONFIG_BOARD_NRF54L15DK
#define FW_BOARD 0
#elif CONFIG_BOARD_NRF5340DK
#define FW_BOARD 0
#elif CONFIG_BOARD_NRF52840DK
#define FW_BOARD 0
#elif CONFIG_BOARD_NRF52840DONGLE
#define FW_BOARD 0
#elif CONFIG_BOARD_SLIMENRF_R1
#define FW_BOARD 0
#elif CONFIG_BOARD_SLIMENRF_R2
#define FW_BOARD 0
#elif CONFIG_BOARD_SLIMENRF_R3 || CONFIG_BOARD_SLIMENRF_R3_UF2
#define FW_BOARD 0
#elif CONFIG_BOARD_SLIMEVRMINI_P1_UF2
#define FW_BOARD 0
#elif CONFIG_BOARD_SLIMEVRMINI_P2_UF2
#define FW_BOARD 0
#elif CONFIG_BOARD_SUPERMINI_UF2
#define FW_BOARD 0
#elif CONFIG_BOARD_XIAO_BLE
#define FW_BOARD 0
#else
#define FW_BOARD 0
#endif

// does not exist in server enums yet
#if CONFIG_SOC_NRF54L15
#define FW_MCU 0
#elif CONFIG_SOC_NRF54L10
#define FW_MCU 0
#elif CONFIG_SOC_NRF54L05
#define FW_MCU 0
#elif CONFIG_SOC_NRF5340
#define FW_MCU 0
#elif CONFIG_SOC_NRF52840
#define FW_MCU 0
#elif CONFIG_SOC_NRF52833
#define FW_MCU 0
#elif CONFIG_SOC_NRF52820
#define FW_MCU 0
#elif CONFIG_SOC_NRF52811
#define FW_MCU 0
#elif CONFIG_SOC_NRF52810
#define FW_MCU 0
#elif CONFIG_SOC_NRF52832
#define FW_MCU 0
#elif CONFIG_SOC_NRF52805
#define FW_MCU 0
#else
#define FW_MCU 0
#endif

static uint8_t get_server_constant_imu_id(int id)
{
	switch (id)
	{
	case IMU_BMI160:
		return SVR_IMU_BMI160;
	case IMU_BMI270:
		return SVR_IMU_BMI270;
	case IMU_BMI323:
		return 0;
	case IMU_MPU6050:
		return SVR_IMU_MPU6050;
	case IMU_MPU6500:
		return SVR_IMU_MPU6500;
	case IMU_MPU9250:
		return SVR_IMU_MPU9250;
	case IMU_ICM20948:
		return SVR_IMU_ICM20948;
	case IMU_ICM42688:
		return SVR_IMU_ICM42688;
	case IMU_ICM45686:
		return SVR_IMU_ICM45686;
	case IMU_ISM330IS:
		return 0;
	case IMU_LSM6DS3:
		return 0;
	case IMU_LSM6DSM:
		return SVR_IMU_LSM6DS3TRC;
	case IMU_LSM6DSR:
		return SVR_IMU_LSM6DSR;
	case IMU_LSM6DSO:
		return SVR_IMU_LSM6DSO;
	case IMU_LSM6DST:
		return 0;
	case IMU_LSM6DSV:
		return SVR_IMU_LSM6DSV;
	case IMU_ISM330BX:
		return SVR_IMU_LSM6DSV; // not really
	default:
		return SVR_IMU_UNKNOWN;
	}
}

// does not exist in server enums yet
#if CONFIG_SENSOR_USE_MAG
#define SVR_MAG_STATUS SVR_MAG_STATUS_ENABLED
#else
#define SVR_MAG_STATUS SVR_MAG_STATUS_DISABLED
#endif
static uint8_t get_server_constant_mag_id(int id)
{
	if (id < 0)
		return SVR_MAG_STATUS_NOT_SUPPORTED;
	else
		return SVR_MAG_STATUS; // TODO: toggle from server
//	switch (id)
//	{
//	case MAG_HMC5883L:
//		return 0;
//	case MAG_QMC5883L:
//		return 0;
//	case MAG_AK8963:
//		return 0;
//	case MAG_AK09916:
//		return 0;
//	case MAG_AK09940:
//		return 0;
//	case MAG_BMM150:
//		return 0;
//	case MAG_BMM350:
//		return 0;
//	case MAG_IST8306:
//		return 0;
//	case MAG_IST8308:
//		return 0;
//	case MAG_IST8320:
//		return 0;
//	case MAG_IST8321:
//		return 0;
//	case MAG_LIS2MDL:
//		return 0;
//	case MAG_LIS3MDL:
//		return 0;
//	case MAG_MMC34160PJ:
//		return 0;
//	case MAG_MMC3630KJ:
//		return 0;
//	case MAG_MMC5633NJL:
//		return 0;
//	case MAG_MMC5616WA:
//		return 0;
//	case MAG_MMC5983MA:
//		return 0;
//	default:
//		return 0;
//	}
}

static uint8_t get_server_constant_tracker_status(int status)
{
	if (status & (SYS_STATUS_SENSOR_ERROR | SYS_STATUS_SYSTEM_ERROR))
		return SVR_STATUS_ERROR;
	else
		return SVR_STATUS_OK;
}

// https://stackoverflow.com/questions/11697820/how-to-use-date-and-time-predefined-macros-in-as-two-integers-then-stri
#define COMPUTE_BUILD_YEAR \
	( \
		(__DATE__[ 7] - '0') * 1000 + \
		(__DATE__[ 8] - '0') *  100 + \
		(__DATE__[ 9] - '0') *   10 + \
		(__DATE__[10] - '0') \
	)

#define COMPUTE_BUILD_DAY \
	( \
		((__DATE__[4] >= '0') ? (__DATE__[4] - '0') * 10 : 0) + \
		(__DATE__[5] - '0') \
	)

#define BUILD_MONTH_IS_JAN (__DATE__[0] == 'J' && __DATE__[1] == 'a' && __DATE__[2] == 'n')
#define BUILD_MONTH_IS_FEB (__DATE__[0] == 'F')
#define BUILD_MONTH_IS_MAR (__DATE__[0] == 'M' && __DATE__[1] == 'a' && __DATE__[2] == 'r')
#define BUILD_MONTH_IS_APR (__DATE__[0] == 'A' && __DATE__[1] == 'p')
#define BUILD_MONTH_IS_MAY (__DATE__[0] == 'M' && __DATE__[1] == 'a' && __DATE__[2] == 'y')
#define BUILD_MONTH_IS_JUN (__DATE__[0] == 'J' && __DATE__[1] == 'u' && __DATE__[2] == 'n')
#define BUILD_MONTH_IS_JUL (__DATE__[0] == 'J' && __DATE__[1] == 'u' && __DATE__[2] == 'l')
#define BUILD_MONTH_IS_AUG (__DATE__[0] == 'A' && __DATE__[1] == 'u')
#define BUILD_MONTH_IS_SEP (__DATE__[0] == 'S')
#define BUILD_MONTH_IS_OCT (__DATE__[0] == 'O')
#define BUILD_MONTH_IS_NOV (__DATE__[0] == 'N')
#define BUILD_MONTH_IS_DEC (__DATE__[0] == 'D')

#define COMPUTE_BUILD_MONTH \
	( \
		(BUILD_MONTH_IS_JAN) ?  1 : \
		(BUILD_MONTH_IS_FEB) ?  2 : \
		(BUILD_MONTH_IS_MAR) ?  3 : \
		(BUILD_MONTH_IS_APR) ?  4 : \
		(BUILD_MONTH_IS_MAY) ?  5 : \
		(BUILD_MONTH_IS_JUN) ?  6 : \
		(BUILD_MONTH_IS_JUL) ?  7 : \
		(BUILD_MONTH_IS_AUG) ?  8 : \
		(BUILD_MONTH_IS_SEP) ?  9 : \
		(BUILD_MONTH_IS_OCT) ? 10 : \
		(BUILD_MONTH_IS_NOV) ? 11 : \
		(BUILD_MONTH_IS_DEC) ? 12 : \
		/* error default */  99 \
	)

#define COMPUTE_BUILD_HOUR ((__TIME__[0] - '0') * 10 + __TIME__[1] - '0')
#define COMPUTE_BUILD_MIN  ((__TIME__[3] - '0') * 10 + __TIME__[4] - '0')
#define COMPUTE_BUILD_SEC  ((__TIME__[6] - '0') * 10 + __TIME__[7] - '0')

#define BUILD_DATE_IS_BAD (__DATE__[0] == '?')

#define BUILD_YEAR  ((BUILD_DATE_IS_BAD) ? 99 : COMPUTE_BUILD_YEAR)
#define BUILD_MONTH ((BUILD_DATE_IS_BAD) ? 99 : COMPUTE_BUILD_MONTH)
#define BUILD_DAY   ((BUILD_DATE_IS_BAD) ? 99 : COMPUTE_BUILD_DAY)

#define BUILD_TIME_IS_BAD (__TIME__[0] == '?')

#define BUILD_HOUR  ((BUILD_TIME_IS_BAD) ? 99 :  COMPUTE_BUILD_HOUR)
#define BUILD_MIN   ((BUILD_TIME_IS_BAD) ? 99 :  COMPUTE_BUILD_MIN)
#define BUILD_SEC   ((BUILD_TIME_IS_BAD) ? 99 :  COMPUTE_BUILD_SEC)

#define TOSTRING(x) STRINGIFY(x)

#define FW_STRING FW_NAME " " APP_VERSION_EXTENDED_STRING " "\
	"(Commit " TOSTRING(APP_BUILD_VERSION) ", Build %d-%02d-%02d %02d:%02d:%02d)\n",\
	BUILD_YEAR, BUILD_MONTH, BUILD_DAY, BUILD_HOUR, BUILD_MIN, BUILD_SEC
```

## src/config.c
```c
#include "globals.h"
#include "system/system.h"

#include "config.h"

#if DT_NODE_HAS_STATUS_OKAY(DT_ALIAS(retainedmemdevice))
#define MEMORY_REGION DT_PARENT(DT_ALIAS(retainedmemdevice))
#else
#error "retained_mem region not defined"
#endif

#define RETAINED_SETTINGS_OFFSET offsetof(struct retained_data, settings)

struct config_settings_data *config_settings = (struct config_settings_data *)(DT_REG_ADDR(MEMORY_REGION) + RETAINED_SETTINGS_OFFSET);

const uint16_t config_settings_count[] = {
	CONFIG_0_SETTINGS_END,
	CONFIG_1_SETTINGS_END,
	CONFIG_2_SETTINGS_END,
	CONFIG_3_SETTINGS_END
};

const char *config_settings_names[] = {
	"user_extra_actions", // 0
	"ignore_reset",
	"user_shutdown",
	"use_imu_wake_up",
	"delay_sleep_on_status",
	"connection_over_hid",
	"sensor_use_low_power_2", // 1
	"use_imu_timeout",
	"use_active_timeout",
	"sensor_use_mag",
	"use_sensor_clock",
	"sensor_use_6_side_calibration",
	"led_default_color_r", // 2
	"led_default_color_g",
	"led_default_color_b",
	"active_timeout_mode",
	"sensor_accel_odr",
	"sensor_gyro_odr",
	"sensor_accel_fs",
	"sensor_gyro_fs",
	"sensor_fusion",
	"radio_tx_power",
	"connection_timeout_delay", // 3
	"sensor_lp_timeout",
	"imu_timeout_ramp_min",
	"imu_timeout_ramp_max",
	"active_timeout_threshold",
	"active_timeout_delay",
	"battery_low_runtime_threshold"
};

const bool config_0_settings_defaults[16] = {
	IS_ENABLED(CONFIG_USER_EXTRA_ACTIONS),
	IS_ENABLED(CONFIG_IGNORE_RESET),
	IS_ENABLED(CONFIG_USER_SHUTDOWN),
	IS_ENABLED(CONFIG_USE_IMU_WAKE_UP),
	IS_ENABLED(CONFIG_DELAY_SLEEP_ON_STATUS),
	IS_ENABLED(CONFIG_CONNECTION_OVER_HID),
};

const bool config_1_settings_defaults[16] = {
	IS_ENABLED(CONFIG_SENSOR_USE_LOW_POWER_2),
	IS_ENABLED(CONFIG_USE_IMU_TIMEOUT),
	IS_ENABLED(CONFIG_USE_ACTIVE_TIMEOUT),
	IS_ENABLED(CONFIG_SENSOR_USE_MAG),
	IS_ENABLED(CONFIG_USE_SENSOR_CLOCK),
	IS_ENABLED(CONFIG_SENSOR_USE_6_SIDE_CALIBRATION),
};

const int16_t config_2_settings_defaults[16] = {
#ifdef CONFIG_LED_DEFAULT_COLOR_R
	CONFIG_LED_DEFAULT_COLOR_R, // 0-10000
#else
	4000,
#endif
#ifdef CONFIG_LED_DEFAULT_COLOR_G
	CONFIG_LED_DEFAULT_COLOR_G, // 0-10000
#else
	6000,
#endif
#ifdef CONFIG_LED_DEFAULT_COLOR_B
	CONFIG_LED_DEFAULT_COLOR_B, // 0-10000
#else
	0,
#endif
#if CONFIG_SHUTDOWN_ON_ACTIVE_TIMEOUT
	1,
#else // CONFIG_SLEEP_ON_ACTIVE_TIMEOUT
	0,
#endif
	CONFIG_SENSOR_ACCEL_ODR, // 0-3200 (e.g.)
	CONFIG_SENSOR_GYRO_ODR, // 0-3200 (e.g.)
	CONFIG_SENSOR_ACCEL_FS, // 0-32000 (e.g.)
	CONFIG_SENSOR_GYRO_FS, // 0-32000 (e.g.)
#if CONFIG_SENSOR_USE_VQF
	3,
#elif CONFIG_SENSOR_USE_NXPSENSORFUSION
	2,
#elif CONFIG_SENSOR_USE_XIOFUSION
	1,
#else
	0,
#endif
	CONFIG_RADIO_TX_POWER, // -128-127
};

const int32_t config_3_settings_defaults[16] = {
#ifdef CONFIG_CONNECTION_TIMEOUT_DELAY
	CONFIG_CONNECTION_TIMEOUT_DELAY,
#else
	300000,
#endif
	CONFIG_SENSOR_LP_TIMEOUT,
#ifdef CONFIG_IMU_TIMEOUT_RAMP_MIN
	CONFIG_IMU_TIMEOUT_RAMP_MIN,
#else
	5000,
#endif
#ifdef CONFIG_IMU_TIMEOUT_RAMP_MAX
	CONFIG_IMU_TIMEOUT_RAMP_MAX,
#else
	15000,
#endif
#ifdef CONFIG_ACTIVE_TIMEOUT_THRESHOLD
	CONFIG_ACTIVE_TIMEOUT_THRESHOLD,
#else
	15000,
#endif
#ifdef CONFIG_ACTIVE_TIMEOUT_DELAY
	CONFIG_ACTIVE_TIMEOUT_DELAY,
#else
	900000,
#endif
	CONFIG_BATTERY_LOW_RUNTIME_THRESHOLD,
};

LOG_MODULE_REGISTER(config, LOG_LEVEL_INF);

void config_settings_init(void)
{
	for (int i = 0; i < 16; i++)
	{
		uint16_t write_mask = 1 << i;
		if (!(config_settings->config_0_ovrd & write_mask))
		{
			if (config_0_settings_defaults[i])
				config_settings->config_0_settings |= write_mask;
			else
				config_settings->config_0_settings &= ~write_mask;
		}
		if (!(config_settings->config_1_ovrd & write_mask))
		{
			if (config_1_settings_defaults[i])
				config_settings->config_1_settings |= write_mask;
			else
				config_settings->config_1_settings &= ~write_mask;
		}
		if (!(config_settings->config_2_ovrd & write_mask))
			config_settings->config_2_settings[i] = config_2_settings_defaults[i];
		if (!(config_settings->config_3_ovrd & write_mask))
			config_settings->config_3_settings[i] = config_3_settings_defaults[i];
	}
}

/*
bool config_0_settings_read(uint16_t id)
{
	uint16_t read_mask = 1 << id;

	if (config_settings->config_0_ovrd & read_mask)
		return config_settings->config_0_settings & read_mask;

	// Otherwise use default config value
	return config_0_settings_defaults[id];
}

bool config_1_settings_read(uint16_t id)
{
	uint16_t read_mask = 1 << id;

	if (config_settings->config_1_ovrd & read_mask)
		return config_settings->config_1_settings & read_mask;

	// Use default config value
	return config_1_settings_defaults[id];
}

int16_t config_2_settings_read(uint16_t id)
{
	uint16_t read_mask = 1 << id;

	if (config_settings->config_2_ovrd & read_mask)
		return config_settings->config_2_settings[id];

	// Use default config value
	return config_2_settings_defaults[id];
}

int32_t config_3_settings_read(uint16_t id)
{
	uint16_t read_mask = 1 << id;

	if (config_settings->config_3_ovrd & read_mask)
		return config_settings->config_3_settings[id];

	// Use default config value
	return config_3_settings_defaults[id];
}
*/

void config_0_settings_write(uint16_t id, bool value)
{
	uint16_t write_mask = 1 << id;

	config_settings->config_0_ovrd |= write_mask;

	if (value)
		config_settings->config_0_settings |= write_mask;
	else
		config_settings->config_0_settings &= ~write_mask;

	sys_write(SETTINGS_ID, NULL, retained->settings, sizeof(retained->settings));
}

void config_1_settings_write(uint16_t id, bool value)
{
	uint16_t write_mask = 1 << id;

	config_settings->config_1_ovrd |= write_mask;

	if (value)
		config_settings->config_1_settings |= write_mask;
	else
		config_settings->config_1_settings &= ~write_mask;

	sys_write(SETTINGS_ID, NULL, retained->settings, sizeof(retained->settings));
}

void config_2_settings_write(uint16_t id, int16_t value)
{
	uint16_t write_mask = 1 << id;

	config_settings->config_2_ovrd |= write_mask;

	config_settings->config_2_settings[id] = value;

	sys_write(SETTINGS_ID, NULL, retained->settings, sizeof(retained->settings));
}

void config_3_settings_write(uint16_t id, int32_t value)
{
	uint16_t write_mask = 1 << id;

	config_settings->config_3_ovrd |= write_mask;

	config_settings->config_3_settings[id] = value;

	sys_write(SETTINGS_ID, NULL, retained->settings, sizeof(retained->settings));
}

void config_settings_reset(uint16_t config, uint16_t id)
{
	uint16_t write_mask = 1 << id;

	switch (config)
	{
	case 0:
		config_settings->config_0_ovrd &= ~write_mask;
		break;
	case 1:
		config_settings->config_1_ovrd &= ~write_mask;
		break;
	case 2:
		config_settings->config_2_ovrd &= ~write_mask;
		break;
	case 3:
		config_settings->config_3_ovrd &= ~write_mask;
		break;
	default:
	}

	config_settings_init(); // reset non-overridden value

	sys_write(SETTINGS_ID, NULL, retained->settings, sizeof(retained->settings));
}

void config_settings_reset_all(void)
{
	static bool reset_confirm = false;
	if (!reset_confirm)
	{
		printk("Resetting device settings will clear all user-defined settings to the firmware defaults. Are you sure?\n");
		reset_confirm = true;
		return;
	}
	printk("Resetting device settings\n");

	config_settings->config_0_ovrd = 0;
	config_settings->config_1_ovrd = 0;
	config_settings->config_2_ovrd = 0;
	config_settings->config_3_ovrd = 0;

	config_settings_init(); // reset non-overridden value

	sys_write(SETTINGS_ID, NULL, retained->settings, sizeof(retained->settings));
	reset_confirm = false;
	LOG_INF("Device settings reset");
}
```

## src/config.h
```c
#ifndef SLIMENRF_CONFIG
#define SLIMENRF_CONFIG

#include "retained.h"

#define CONFIG_SETTINGS_COUNT 4

// map of settings area
struct config_settings_data {
	uint16_t config_0_ovrd; // Override enable flags
	uint16_t config_0_settings;
	uint16_t config_1_ovrd;
	uint16_t config_1_settings;
	uint16_t config_2_ovrd;
	int16_t config_2_settings[16];
	uint16_t config_3_ovrd;
	int32_t config_3_settings[16];
};

// because settings read is a macro, need to expose settings struct
extern struct config_settings_data *config_settings;

// device settings
enum config_0_settings_id {
	CONFIG_0_USER_EXTRA_ACTIONS,
	CONFIG_0_IGNORE_RESET,
	CONFIG_0_USER_SHUTDOWN,
	CONFIG_0_USE_IMU_WAKE_UP,
	CONFIG_0_DELAY_SLEEP_ON_STATUS,
	CONFIG_0_CONNECTION_OVER_HID,
	CONFIG_0_SETTINGS_END
};

// sensor settings
enum config_1_settings_id {
	CONFIG_1_SENSOR_USE_LOW_POWER_2,
	CONFIG_1_USE_IMU_TIMEOUT,
	CONFIG_1_USE_ACTIVE_TIMEOUT,
	CONFIG_1_SENSOR_USE_MAG,
	CONFIG_1_USE_SENSOR_CLOCK,
	CONFIG_1_SENSOR_USE_6_SIDE_CALIBRATION,
	CONFIG_1_SETTINGS_END
};

enum config_2_settings_id {
	CONFIG_2_LED_DEFAULT_COLOR_R,
	CONFIG_2_LED_DEFAULT_COLOR_G,
	CONFIG_2_LED_DEFAULT_COLOR_B,
	CONFIG_2_ACTIVE_TIMEOUT_MODE, // 0: Sleep, 1: Shutdown
	CONFIG_2_SENSOR_ACCEL_ODR,
	CONFIG_2_SENSOR_GYRO_ODR,
	CONFIG_2_SENSOR_ACCEL_FS,
	CONFIG_2_SENSOR_GYRO_FS,
	CONFIG_2_SENSOR_FUSION, // 1: XIO, 3: VQF
	CONFIG_2_RADIO_TX_POWER,
	CONFIG_2_SETTINGS_END
};

enum config_3_settings_id {
	CONFIG_3_CONNECTION_TIMEOUT_DELAY,
	CONFIG_3_SENSOR_LP_TIMEOUT,
	CONFIG_3_IMU_TIMEOUT_RAMP_MIN,
	CONFIG_3_IMU_TIMEOUT_RAMP_MAX,
	CONFIG_3_ACTIVE_TIMEOUT_THRESHOLD,
	CONFIG_3_ACTIVE_TIMEOUT_DELAY,
	CONFIG_3_BATTERY_LOW_RUNTIME_THRESHOLD,
	CONFIG_3_SETTINGS_END
};

extern const uint16_t config_settings_count[];

extern const char *config_settings_names[];

#define CONFIG_0_SETTINGS_READ(id) (config_settings->config_0_settings & (1 << id))
#define CONFIG_1_SETTINGS_READ(id) (config_settings->config_1_settings & (1 << id))
#define CONFIG_2_SETTINGS_READ(id) (config_settings->config_2_settings[id])
#define CONFIG_3_SETTINGS_READ(id) (config_settings->config_3_settings[id])

void config_settings_init(void);

void config_0_settings_write(uint16_t id, bool value);
void config_1_settings_write(uint16_t id, bool value);
void config_2_settings_write(uint16_t id, int16_t value);
void config_3_settings_write(uint16_t id, int32_t value);

void config_settings_reset(uint16_t config, uint16_t id);
void config_settings_reset_all(void);

#endif
```

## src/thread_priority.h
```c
/* Negative priority is cooperative
   Non-negative priority is preemptible (such as during any k_sleep)
   Higher value is lower priority
*/
#define CONSOLE_THREAD_PRIORITY 6
#define HID_THREAD_PRIORITY 6
#define USB_INIT_THREAD_PRIORITY 6
#define CONNECTION_THREAD_PRIORITY 8
#define ESB_THREAD_PRIORITY 6
#define CLOCKS_START_THREAD_PRIORITY 5
#define CLOCKS_STOP_THREAD_PRIORITY 5
#define CALIBRATION_THREAD_PRIORITY 6
#define SENSOR_REQUEST_SCAN_THREAD_PRIORITY 7
#define SENSOR_SCAN_THREAD_PRIORITY 7
#define SENSOR_LOOP_THREAD_PRIORITY 7
#define LED_THREAD_PRIORITY 6
#define DISABLE_DFU_THREAD_PRIORITY 6
#define POWER_THREAD_PRIORITY 6
#define STATUS_ERROR_THREAD_PRIORITY 6
#define STATUS_WARN_THREAD_PRIORITY 6
#define BUTTON_THREAD_PRIORITY 6
```
